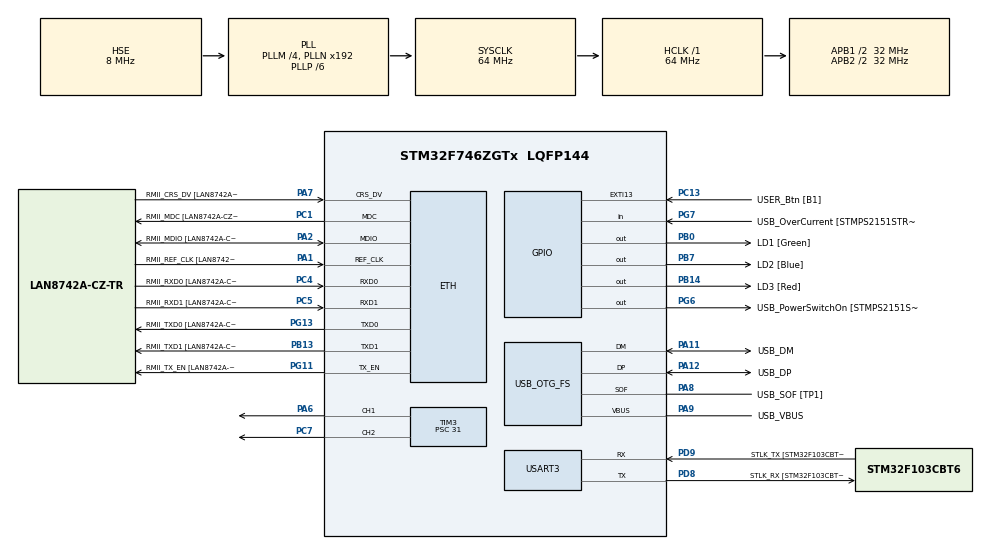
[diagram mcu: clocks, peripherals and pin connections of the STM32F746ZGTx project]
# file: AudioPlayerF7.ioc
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ETH.MediaInterface=HAL_ETH_RMII_MODE
ETH.PHY_Name=LAN8742A_PHY_ADDRESS
ETH.PHY_Value=0
ETH.PhyAddress=0
Mcu.Family=STM32F7
Mcu.Name=STM32F746ZGTx
Mcu.Package=LQFP144
NVIC.EXTI15_10_IRQn=true\:2\:0\:true\:false\:true\:true\:true\:true
NVIC.PriorityGroup=NVIC_PRIORITYGROUP_4
NVIC.TIM3_IRQn=true\:0\:0\:false\:false\:true\:true\:true\:true
PA1.GPIO_Label=RMII_REF_CLK [LAN8742A-CZ-TR_REFCLK0]
PA1.Mode=RMII
PA1.Signal=ETH_REF_CLK
PA10.GPIO_Label=USB_ID
PA10.Signal=USB_OTG_FS_ID
PA11.GPIO_Label=USB_DM
PA11.Mode=Device_Only
PA11.Signal=USB_OTG_FS_DM
PA12.GPIO_Label=USB_DP
PA12.Mode=Device_Only
PA12.Signal=USB_OTG_FS_DP
PA13.GPIO_Label=TMS
PA13.Mode=Serial_Wire
PA13.Signal=SYS_JTMS-SWDIO
PA14.GPIO_Label=TCK
PA14.Mode=Serial_Wire
PA14.Signal=SYS_JTCK-SWCLK
PA2.GPIO_Label=RMII_MDIO [LAN8742A-CZ-TR_MDIO]
PA2.Mode=RMII
PA2.Signal=ETH_MDIO
PA6.Signal=S_TIM3_CH1
PA7.GPIO_Label=RMII_CRS_DV [LAN8742A-CZ-TR_CRS_DV]
PA7.Mode=RMII
PA7.Signal=ETH_CRS_DV
PA8.GPIO_Label=USB_SOF [TP1]
PA8.Mode=Activate_SOF_FS
PA8.Signal=USB_OTG_FS_SOF
PA9.GPIO_Label=USB_VBUS
PA9.Mode=Activate_VBUS
PA9.Signal=USB_OTG_FS_VBUS
PB0.GPIO_Label=LD1 [Green]
PB0.Signal=GPIO_Output
PB13.GPIO_Label=RMII_TXD1 [LAN8742A-CZ-TR_TXD1]
PB13.Mode=RMII
PB13.Signal=ETH_TXD1
PB14.GPIO_Label=LD3 [Red]
PB14.Signal=GPIO_Output
PB3.GPIO_Label=SW0
PB3.Signal=SYS_JTDO-SWO
PB7.GPIO_Label=LD2 [Blue]
PB7.Signal=GPIO_Output
PC1.GPIO_Label=RMII_MDC [LAN8742A-CZ-TR_MDC]
PC1.Mode=RMII
PC1.Signal=ETH_MDC
PC13.GPIO_Label=USER_Btn [B1]
PC13.Signal=GPXTI13
PC14/OSC32_IN.Mode=LSE-External-Oscillator
PC14/OSC32_IN.Signal=RCC_OSC32_IN
PC15/OSC32_OUT.Mode=LSE-External-Oscillator
PC15/OSC32_OUT.Signal=RCC_OSC32_OUT
PC4.GPIO_Label=RMII_RXD0 [LAN8742A-CZ-TR_RXD0]
PC4.Mode=RMII
PC4.Signal=ETH_RXD0
PC5.GPIO_Label=RMII_RXD1 [LAN8742A-CZ-TR_RXD1]
PC5.Mode=RMII
PC5.Signal=ETH_RXD1
PC7.Signal=S_TIM3_CH2
PD8.GPIO_Label=STLK_RX [STM32F103CBT6_PA3]
PD8.GPIO_PuPd=GPIO_PULLUP
PD8.Mode=Asynchronous
PD8.Signal=USART3_TX
PD9.GPIO_Label=STLK_TX [STM32F103CBT6_PA2]
PD9.GPIO_PuPd=GPIO_PULLUP
PD9.Mode=Asynchronous
PD9.Signal=USART3_RX
PG11.GPIO_Label=RMII_TX_EN [LAN8742A-CZ-TR_TXEN]
PG11.Mode=RMII
PG11.Signal=ETH_TX_EN
PG13.GPIO_Label=RMII_TXD0 [LAN8742A-CZ-TR_TXD0]
PG13.Mode=RMII
PG13.Signal=ETH_TXD0
PG6.GPIO_Label=USB_PowerSwitchOn [STMPS2151STR_EN]
PG6.Signal=GPIO_Output
PG7.GPIO_Label=USB_OverCurrent [STMPS2151STR_FAULT]
PG7.Signal=GPIO_Input
PH0/OSC_IN.GPIO_Label=MCO [STM32F103CBT6_PA8]
PH0/OSC_IN.Mode=HSE-External-Clock-Source
PH0/OSC_IN.Signal=RCC_OSC_IN
PH1/OSC_OUT.Mode=HSE-External-Clock-Source
PH1/OSC_OUT.Signal=RCC_OSC_OUT
ProjectManager.HeapSize=0x200
ProjectManager.StackSize=0x400
ProjectManager.TargetToolchain=STM32CubeIDE
RCC.48MHZClocksFreq_Value=24000000
RCC.AHBFreq_Value=64000000
RCC.APB1CLKDivider=RCC_HCLK_DIV2
RCC.APB1Freq_Value=32000000
RCC.APB1TimFreq_Value=64000000
RCC.APB2CLKDivider=RCC_HCLK_DIV2
RCC.APB2Freq_Value=32000000
RCC.APB2TimFreq_Value=64000000
RCC.CortexFreq_Value=64000000
RCC.HCLKFreq_Value=64000000
RCC.HSE_VALUE=8000000
RCC.HSI_VALUE=16000000
RCC.PLLM=4
RCC.PLLMUL=RCC_PLL_MUL9
RCC.PLLP=RCC_PLLP_DIV6
RCC.PLLQ=8
RCC.PRESCALERUSB=RCC_USBCLKSOURCE_PLL_DIV1_5
RCC.SYSCLKFreq_VALUE=64000000
RCC.SYSCLKSource=RCC_SYSCLKSOURCE_PLLCLK
RCC.SYSCLKSourceVirtual=RCC_SYSCLKSOURCE_PLLCLK
RCC.USBFreq_Value=48000000
RCC.VCOOutputFreq_Value=384000000
SH.S_TIM3_CH1.0=TIM3_CH1,PWM Generation1 CH1
SH.S_TIM3_CH2.0=TIM3_CH2,PWM Generation2 CH2
TIM3.AutoReloadPreload=TIM_AUTORELOAD_PRELOAD_ENABLE
TIM3.Channel-PWM\ Generation1\ CH1=TIM_CHANNEL_1
TIM3.Channel-PWM\ Generation2\ CH2=TIM_CHANNEL_2
TIM3.Period=999
TIM3.Prescaler=31
USART3.VirtualMode-Asynchronous=VM_ASYNC
USB_OTG_FS.VirtualMode=Device_Only
board=NUCLEO-F746ZG

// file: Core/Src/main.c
/* USER CODE BEGIN Header */
/**
  ******************************************************************************
  * @file           : main.c
  * @brief          : Main program body
  ******************************************************************************
  * @attention
  *
  * Copyright (c) 2024 STMicroelectronics.
  * All rights reserved.
  *
  * This software is licensed under terms that can be found in the LICENSE file
  * in the root directory of this software component.
  * If no LICENSE file comes with this software, it is provided AS-IS.
  *
  ******************************************************************************
  */
/* USER CODE END Header */
#include "main.h"
#include "tim.h"
#include "usart.h"
#include "gpio.h"

/* USER CODE BEGIN Includes */
#include "adpcm.h"
/* USER CODE END Includes */

/* USER CODE BEGIN PD */
#define DEFAULT_STARTUP_VAL (0x90)
/* USER CODE END PD */

void SystemClock_Config(void);
/* USER CODE BEGIN PFP */
void LoadAudioFiles(void);
/* USER CODE END PFP */

/* USER CODE BEGIN 0 */
AudioElement audioFile;
uint8_t audioFileToPlay = 0;
/* USER CODE END 0 */

int main(void)
{

  /* MCU Configuration--------------------------------------------------------*/

  /* Reset of all peripherals, Initializes the Flash interface and the Systick. */
  HAL_Init();

  /* Configure the system clock */
  SystemClock_Config();

  /* Initialize all configured peripherals */
  MX_GPIO_Init();
  MX_USART3_UART_Init();
  MX_TIM3_Init();
  /* USER CODE BEGIN 2 */
  LoadAudioFiles();
  /* USER CODE END 2 */

  /* Infinite loop */
  /* USER CODE BEGIN WHILE */

  extern TIM_HandleTypeDef htim3;

  HAL_TIM_Base_Start(&htim3);
  HAL_TIM_PWM_Start(&htim3, TIM_CHANNEL_1);
  HAL_TIM_PWM_Start(&htim3, TIM_CHANNEL_2);

  // Set the Compare values for Channel 1 and Channel 2
  __HAL_TIM_SET_COMPARE(&htim3, TIM_CHANNEL_1, DEFAULT_STARTUP_VAL);
  __HAL_TIM_SET_COMPARE(&htim3, TIM_CHANNEL_2, DEFAULT_STARTUP_VAL);

  // Enable the Update interrupt for TIM3
  __HAL_TIM_ENABLE_IT(&htim3, TIM_IT_UPDATE);

  while (1)
  {
    /* USER CODE END WHILE */

    /* USER CODE BEGIN 3 */
//	if(!HAL_GPIO_ReadPin(GPIOC, GPIO_PIN_13))
//	{
//	 while(!HAL_GPIO_ReadPin(GPIOC, GPIO_PIN_13));
//	 if(audioFileToPlay>=1)
//	 {
//		audioFileToPlay = 0;
//	 }
//	 else
//	 {
//		audioFileToPlay++;
//	 }
//	 /* Disable the TIM3 Interrupt */
//	 NVIC_EnableIRQ(TIM3_IRQn);
//	 // stop the timer
//	 HAL_TIM_Base_Stop(&htim3);
//	}
//	HAL_Delay(100);
  }
  /* USER CODE END 3 */
}

void SystemClock_Config(void)
{
  RCC_OscInitTypeDef RCC_OscInitStruct = {0};
  RCC_ClkInitTypeDef RCC_ClkInitStruct = {0};

  /** Configure LSE Drive Capability
  */
  HAL_PWR_EnableBkUpAccess();

  /** Configure the main internal regulator output voltage
  */
  __HAL_RCC_PWR_CLK_ENABLE();
  __HAL_PWR_VOLTAGESCALING_CONFIG(PWR_REGULATOR_VOLTAGE_SCALE3);

  /** Initializes the RCC Oscillators according to the specified parameters
  * in the RCC_OscInitTypeDef structure.
  */
  RCC_OscInitStruct.OscillatorType = RCC_OSCILLATORTYPE_HSE;
  RCC_OscInitStruct.HSEState = RCC_HSE_BYPASS;
  RCC_OscInitStruct.PLL.PLLState = RCC_PLL_ON;
  RCC_OscInitStruct.PLL.PLLSource = RCC_PLLSOURCE_HSE;
  RCC_OscInitStruct.PLL.PLLM = 4;
  RCC_OscInitStruct.PLL.PLLN = 192;
  RCC_OscInitStruct.PLL.PLLP = RCC_PLLP_DIV6;
  RCC_OscInitStruct.PLL.PLLQ = 8;
  if (HAL_RCC_OscConfig(&RCC_OscInitStruct) != HAL_OK)
  {
    Error_Handler();
  }

  /** Initializes the CPU, AHB and APB buses clocks
  */
  RCC_ClkInitStruct.ClockType = RCC_CLOCKTYPE_HCLK|RCC_CLOCKTYPE_SYSCLK
                              |RCC_CLOCKTYPE_PCLK1|RCC_CLOCKTYPE_PCLK2;
  RCC_ClkInitStruct.SYSCLKSource = RCC_SYSCLKSOURCE_PLLCLK;
  RCC_ClkInitStruct.AHBCLKDivider = RCC_SYSCLK_DIV1;
  RCC_ClkInitStruct.APB1CLKDivider = RCC_HCLK_DIV2;
  RCC_ClkInitStruct.APB2CLKDivider = RCC_HCLK_DIV2;

  if (HAL_RCC_ClockConfig(&RCC_ClkInitStruct, FLASH_LATENCY_2) != HAL_OK)
  {
    Error_Handler();
  }
}

/* USER CODE BEGIN 4 */
void LoadAudioFiles(void)
{
	audioFile.AudioFiles[0] = (uint32_t)&rawData;
	audioFile.AudioSize[0] = ADPCM_NELEMS(rawData);
}
/* USER CODE END 4 */

void Error_Handler(void)
{
  __disable_irq();
  while (1)
  {
  }
}
